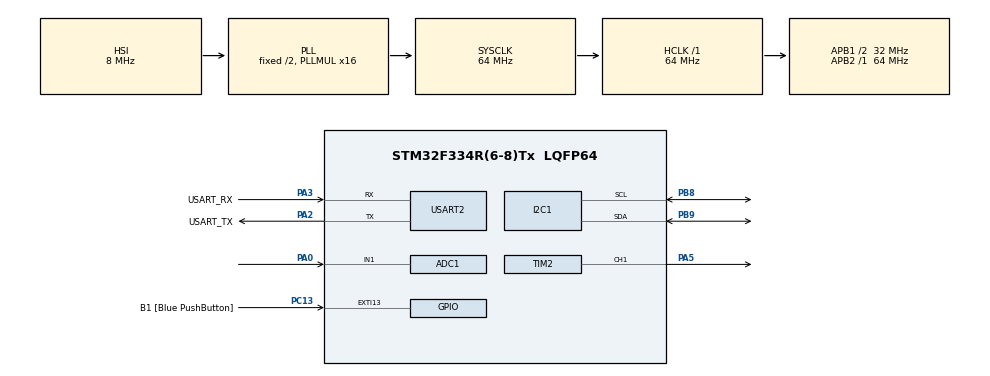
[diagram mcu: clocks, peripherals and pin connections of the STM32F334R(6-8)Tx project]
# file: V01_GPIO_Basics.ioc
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ADC1.Channel-0\#ChannelRegularConversion=ADC_CHANNEL_1
ADC1.NbrOfConversionFlag=1
ADC1.Offset-0\#ChannelRegularConversion=0
ADC1.OffsetNumber-0\#ChannelRegularConversion=ADC_OFFSET_NONE
ADC1.Rank-0\#ChannelRegularConversion=1
ADC1.SamplingTime-0\#ChannelRegularConversion=ADC_SAMPLETIME_1CYCLE_5
ADC1.SamplingTimeOPAMP-0\#ChannelRegularConversion=ADC_SAMPLETIME_61CYCLES_5
ADC1.SubFamily=STM32F334x8
ADC1.master=1
I2C1.Timing=0x00201D2B
Mcu.Family=STM32F3
Mcu.Name=STM32F334R(6-8)Tx
Mcu.Package=LQFP64
NVIC.EXTI15_10_IRQn=true\:0\:0\:false\:false\:true\:true\:true\:true
NVIC.PriorityGroup=NVIC_PRIORITYGROUP_0
NVIC.TIM2_IRQn=true\:0\:0\:false\:false\:true\:true\:true\:true
PA0.Mode=IN1-Single-Ended
PA0.Signal=ADC1_IN1
PA13.GPIO_Label=TMS
PA13.Mode=Serial_Wire
PA13.Signal=SYS_JTMS-SWDIO
PA14.GPIO_Label=TCK
PA14.Mode=Serial_Wire
PA14.Signal=SYS_JTCK-SWCLK
PA2.GPIO_Label=USART_TX
PA2.Mode=Asynchronous
PA2.Signal=USART2_TX
PA3.GPIO_Label=USART_RX
PA3.Mode=Asynchronous
PA3.Signal=USART2_RX
PA5.Signal=S_TIM2_CH1_ETR
PB3.GPIO_Label=SWO
PB3.Signal=SYS_JTDO-TRACESWO
PB8.Mode=I2C
PB8.Signal=I2C1_SCL
PB9.Mode=I2C
PB9.Signal=I2C1_SDA
PC13.GPIO_Label=B1 [Blue PushButton]
PC13.GPIO_ModeDefaultEXTI=GPIO_MODE_IT_FALLING
PC13.Signal=GPXTI13
PC14\ /\ OSC32_IN.Mode=LSE-External-Oscillator
PC14\ /\ OSC32_IN.Signal=RCC_OSC32_IN
PC15\ /\ OSC32_OUT.GPIO_Label=RCC_OSC32_OUT
PC15\ /\ OSC32_OUT.Mode=LSE-External-Oscillator
PC15\ /\ OSC32_OUT.Signal=RCC_OSC32_OUT
PF0\ /\ OSC_IN.Mode=HSE-External-Clock-Source
PF0\ /\ OSC_IN.Signal=RCC_OSC_IN
PF1\ /\ OSC_OUT.Signal=RCC_OSC_OUT
ProjectManager.HeapSize=0x200
ProjectManager.StackSize=0x400
ProjectManager.TargetToolchain=STM32CubeIDE
RCC.AHBFreq_Value=64000000
RCC.APB1CLKDivider=RCC_HCLK_DIV2
RCC.APB1Freq_Value=32000000
RCC.APB1TimFreq_Value=64000000
RCC.APB2Freq_Value=64000000
RCC.APB2TimFreq_Value=64000000
RCC.CortexFreq_Value=64000000
RCC.FLatency-AdvancedSettings=FLASH_LATENCY_2
RCC.HCLKFreq_Value=64000000
RCC.HSE_VALUE=8000000
RCC.HSI_VALUE=8000000
RCC.PLLMUL=RCC_PLL_MUL16
RCC.SYSCLKFreq_VALUE=64000000
RCC.SYSCLKSourceVirtual=RCC_SYSCLKSOURCE_PLLCLK
SH.S_TIM2_CH1_ETR.0=TIM2_CH1,PWM Generation1 CH1
TIM2.Channel-PWM\ Generation1\ CH1=TIM_CHANNEL_1
TIM2.Period=999
TIM2.Prescaler=63
USART2.VirtualMode-Asynchronous=VM_ASYNC
VP_TIM2_VS_ClockSourceINT.Mode=Internal
board=NUCLEO-F334R8

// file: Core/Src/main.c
/* USER CODE BEGIN Header */
/**
  ******************************************************************************
  * @file           : main.c
  * @brief          : Main program body
  ******************************************************************************
  * @attention
  *
  * Copyright (c) 2026 STMicroelectronics.
  * All rights reserved.
  *
  * This software is licensed under terms that can be found in the LICENSE file
  * in the root directory of this software component.
  * If no LICENSE file comes with this software, it is provided AS-IS.
  *
  ******************************************************************************
  */
/* USER CODE END Header */
#include "main.h"

/* USER CODE BEGIN Includes */
#include <math.h>
#include <string.h>
#include <stdio.h>
#define MPU6050_ADDR (0x68 << 1)
/* USER CODE END Includes */

ADC_HandleTypeDef hadc1;

I2C_HandleTypeDef hi2c1;

TIM_HandleTypeDef htim2;

UART_HandleTypeDef huart2;

/* USER CODE BEGIN PV */

uint32_t lastButtonPress = 0;
uint32_t duty = 0;
int32_t direction = 10;
uint32_t adcValue = 0;
char uartBuffer[64];

float gyro_x_offset = 0.0f;
float gyro_y_offset = 0.0f;
float gyro_z_offset = 0.0f;
float roll_gyro = 0.0f;
float pitch_gyro = 0.0f;
float roll_filter = 0.0f;
float pitch_filter = 0.0f;

float roll_setpoint = 0.0f;
float pitch_setpoint = 0.0f;

float kp_roll = 1.0f;
float kp_pitch = 1.0f;

float roll_pid_output = 0.0f;
float pitch_pid_output = 0.0f;
/* USER CODE END PV */

void SystemClock_Config(void);
static void MX_GPIO_Init(void);
static void MX_USART2_UART_Init(void);
static void MX_TIM2_Init(void);
static void MX_ADC1_Init(void);
static void MX_I2C1_Init(void);

int main(void)
{

  /* MCU Configuration--------------------------------------------------------*/

  /* Reset of all peripherals, Initializes the Flash interface and the Systick. */
  HAL_Init();

  /* Configure the system clock */
  SystemClock_Config();

  /* Initialize all configured peripherals */
  MX_GPIO_Init();
  MX_USART2_UART_Init();
  MX_TIM2_Init();
  MX_ADC1_Init();
  MX_I2C1_Init();
  /* USER CODE BEGIN 2 */
  //HAL_TIM_Base_Start_IT(&htim2);
  const char message[] = "STM32 gestartet!\r\n";
  HAL_UART_Transmit(&huart2,
                    (uint8_t*)message,
                    strlen(message),
                    HAL_MAX_DELAY);
  HAL_TIM_PWM_Start(&htim2, TIM_CHANNEL_1);

  // PWM starten
  HAL_TIM_PWM_Start(&htim2, TIM_CHANNEL_1);

  // WHO_AM_I lesen
  uint8_t who_am_i = 0;

  HAL_I2C_Mem_Read(
      &hi2c1,
      0x68 << 1,
      0x75,
      I2C_MEMADD_SIZE_8BIT,
      &who_am_i,
      1,
      HAL_MAX_DELAY
  );

  char buffer[100];

  snprintf(buffer,
           sizeof(buffer),
           "WHO_AM_I: 0x%02X\r\n",
           who_am_i);

  HAL_UART_Transmit(
      &huart2,
      (uint8_t*)buffer,
      strlen(buffer),
      HAL_MAX_DELAY
  );

  // Sensor aufwecken
  uint8_t wake = 0x00;

  HAL_I2C_Mem_Write(
      &hi2c1,
      0x68 << 1,
      0x6B,
      I2C_MEMADD_SIZE_8BIT,
      &wake,
      1,
      HAL_MAX_DELAY
  );

  const char calibration_message[] =
      "Gyro calibration: keep sensor still...\r\n";

  HAL_UART_Transmit(
      &huart2,
      (uint8_t *)calibration_message,
      strlen(calibration_message),
      100
  );

  int32_t gyro_x_sum = 0;
  int32_t gyro_y_sum = 0;
  int32_t gyro_z_sum = 0;

  uint8_t gyro_data[6];

  for (int i = 0; i < 1000; i++)
  {
      HAL_StatusTypeDef status = HAL_I2C_Mem_Read(
          &hi2c1,
          0x68 << 1,
          0x43,
          I2C_MEMADD_SIZE_8BIT,
          gyro_data,
          6,
          100
      );

      if (status == HAL_OK)
      {
          int16_t gyro_x_raw =
              (int16_t)((gyro_data[0] << 8) | gyro_data[1]);

          int16_t gyro_y_raw =
              (int16_t)((gyro_data[2] << 8) | gyro_data[3]);

          int16_t gyro_z_raw =
              (int16_t)((gyro_data[4] << 8) | gyro_data[5]);

          gyro_x_sum += gyro_x_raw;
          gyro_y_sum += gyro_y_raw;
          gyro_z_sum += gyro_z_raw;
      }

      HAL_Delay(2);
  }

  gyro_x_offset = gyro_x_sum / 1000.0f;
  gyro_y_offset = gyro_y_sum / 1000.0f;
  gyro_z_offset = gyro_z_sum / 1000.0f;

  char calibration_buffer[120];

  int calibration_length = snprintf(
      calibration_buffer,
      sizeof(calibration_buffer),
      "Calibration complete | Offsets: %.2f %.2f %.2f\r\n",
      gyro_x_offset,
      gyro_y_offset,
      gyro_z_offset
  );

  HAL_UART_Transmit(
      &huart2,
      (uint8_t *)calibration_buffer,
      calibration_length,
      100
  );

  // HIER EINFÜGEN

  /* USER CODE END 2 */

  /* Infinite loop */
  /* USER CODE BEGIN WHILE */
  uint32_t previous_time = HAL_GetTick();
  while (1)
  {
      uint8_t imu_data[14];

      HAL_StatusTypeDef status = HAL_I2C_Mem_Read(
          &hi2c1,
          0x68 << 1,
          0x3B,
          I2C_MEMADD_SIZE_8BIT,
          imu_data,
          14,
          100
      );

      if (status == HAL_OK)
      {
          int16_t accel_x_raw =
              (int16_t)((imu_data[0] << 8) | imu_data[1]);

          int16_t accel_y_raw =
              (int16_t)((imu_data[2] << 8) | imu_data[3]);

          int16_t accel_z_raw =
              (int16_t)((imu_data[4] << 8) | imu_data[5]);

          int16_t gyro_x_raw =
              (int16_t)((imu_data[8] << 8) | imu_data[9]);

          int16_t gyro_y_raw =
              (int16_t)((imu_data[10] << 8) | imu_data[11]);

          int16_t gyro_z_raw =
              (int16_t)((imu_data[12] << 8) | imu_data[13]);

          float accel_x = accel_x_raw / 16384.0f;
          float accel_y = accel_y_raw / 16384.0f;
          float accel_z = accel_z_raw / 16384.0f;

          float gyro_x = (gyro_x_raw - gyro_x_offset) / 131.0f;
          float gyro_y = (gyro_y_raw - gyro_y_offset) / 131.0f;
          float gyro_z = (gyro_z_raw - gyro_z_offset) / 131.0f;

          uint32_t current_time = HAL_GetTick();
          float dt = (current_time - previous_time) / 1000.0f;
          previous_time = current_time;

          roll_gyro += gyro_x * dt;
          pitch_gyro += gyro_y * dt;

          float roll =
              atan2f(accel_y, accel_z) * 180.0f / 3.14159265f;

          float pitch =
              atan2f(
                  -accel_x,
                  sqrtf(accel_y * accel_y + accel_z * accel_z)
              ) * 180.0f / 3.14159265f;

          roll_filter =
              0.90f * (roll_filter + gyro_x * dt)
              + 0.10f * roll;

          pitch_filter =
              0.90f * (pitch_filter + gyro_y * dt)
              + 0.10f * pitch;

          float roll_error = roll_setpoint - roll_filter;
          float pitch_error = pitch_setpoint - pitch_filter;

          roll_pid_output = kp_roll * roll_error;
          pitch_pid_output = kp_pitch * pitch_error;

          char imu_buffer[200];

          int imu_length = snprintf(
              imu_buffer,
              sizeof(imu_buffer),
              "FILTER R: %.2f P: %.2f | ERROR R: %.2f P: %.2f | P-OUT R: %.2f P: %.2f\r\n",
              roll_filter,
              pitch_filter,
              roll_error,
              pitch_error,
              roll_pid_output,
              pitch_pid_output
          );

          HAL_UART_Transmit(
              &huart2,
              (uint8_t *)imu_buffer,
              imu_length,
              100
          );
      }
      else
      {
          const char error_message[] = "IMU read error\r\n";

          HAL_UART_Transmit(
              &huart2,
              (uint8_t *)error_message,
              strlen(error_message),
              100
          );
      }

      HAL_Delay(10);

      /* USER CODE END WHILE */

  }

  /* USER CODE END 3 */
}

void SystemClock_Config(void)
{
  RCC_OscInitTypeDef RCC_OscInitStruct = {0};
  RCC_ClkInitTypeDef RCC_ClkInitStruct = {0};
  RCC_PeriphCLKInitTypeDef PeriphClkInit = {0};

  /** Initializes the RCC Oscillators according to the specified parameters
  * in the RCC_OscInitTypeDef structure.
  */
  RCC_OscInitStruct.OscillatorType = RCC_OSCILLATORTYPE_HSI;
  RCC_OscInitStruct.HSIState = RCC_HSI_ON;
  RCC_OscInitStruct.HSICalibrationValue = RCC_HSICALIBRATION_DEFAULT;
  RCC_OscInitStruct.PLL.PLLState = RCC_PLL_ON;
  RCC_OscInitStruct.PLL.PLLSource = RCC_PLLSOURCE_HSI;
  RCC_OscInitStruct.PLL.PLLMUL = RCC_PLL_MUL16;
  if (HAL_RCC_OscConfig(&RCC_OscInitStruct) != HAL_OK)
  {
    Error_Handler();
  }

  /** Initializes the CPU, AHB and APB buses clocks
  */
  RCC_ClkInitStruct.ClockType = RCC_CLOCKTYPE_HCLK|RCC_CLOCKTYPE_SYSCLK
                              |RCC_CLOCKTYPE_PCLK1|RCC_CLOCKTYPE_PCLK2;
  RCC_ClkInitStruct.SYSCLKSource = RCC_SYSCLKSOURCE_PLLCLK;
  RCC_ClkInitStruct.AHBCLKDivider = RCC_SYSCLK_DIV1;
  RCC_ClkInitStruct.APB1CLKDivider = RCC_HCLK_DIV2;
  RCC_ClkInitStruct.APB2CLKDivider = RCC_HCLK_DIV1;

  if (HAL_RCC_ClockConfig(&RCC_ClkInitStruct, FLASH_LATENCY_2) != HAL_OK)
  {
    Error_Handler();
  }
  PeriphClkInit.PeriphClockSelection = RCC_PERIPHCLK_I2C1|RCC_PERIPHCLK_ADC12;
  PeriphClkInit.Adc12ClockSelection = RCC_ADC12PLLCLK_DIV1;
  PeriphClkInit.I2c1ClockSelection = RCC_I2C1CLKSOURCE_HSI;
  if (HAL_RCCEx_PeriphCLKConfig(&PeriphClkInit) != HAL_OK)
  {
    Error_Handler();
  }
}

static void MX_ADC1_Init(void)
{

  ADC_MultiModeTypeDef multimode = {0};
  ADC_ChannelConfTypeDef sConfig = {0};

  /** Common config
  */
  hadc1.Instance = ADC1;
  hadc1.Init.ClockPrescaler = ADC_CLOCK_ASYNC_DIV1;
  hadc1.Init.Resolution = ADC_RESOLUTION_12B;
  hadc1.Init.ScanConvMode = ADC_SCAN_DISABLE;
  hadc1.Init.ContinuousConvMode = DISABLE;
  hadc1.Init.DiscontinuousConvMode = DISABLE;
  hadc1.Init.ExternalTrigConvEdge = ADC_EXTERNALTRIGCONVEDGE_NONE;
  hadc1.Init.ExternalTrigConv = ADC_SOFTWARE_START;
  hadc1.Init.DataAlign = ADC_DATAALIGN_RIGHT;
  hadc1.Init.NbrOfConversion = 1;
  hadc1.Init.DMAContinuousRequests = DISABLE;
  hadc1.Init.EOCSelection = ADC_EOC_SINGLE_CONV;
  hadc1.Init.LowPowerAutoWait = DISABLE;
  hadc1.Init.Overrun = ADC_OVR_DATA_OVERWRITTEN;
  if (HAL_ADC_Init(&hadc1) != HAL_OK)
  {
    Error_Handler();
  }

  /** Configure the ADC multi-mode
  */
  multimode.Mode = ADC_MODE_INDEPENDENT;
  if (HAL_ADCEx_MultiModeConfigChannel(&hadc1, &multimode) != HAL_OK)
  {
    Error_Handler();
  }

  /** Configure Regular Channel
  */
  sConfig.Channel = ADC_CHANNEL_1;
  sConfig.Rank = ADC_REGULAR_RANK_1;
  sConfig.SingleDiff = ADC_SINGLE_ENDED;
  sConfig.SamplingTime = ADC_SAMPLETIME_1CYCLE_5;
  sConfig.OffsetNumber = ADC_OFFSET_NONE;
  sConfig.Offset = 0;
  if (HAL_ADC_ConfigChannel(&hadc1, &sConfig) != HAL_OK)
  {
    Error_Handler();
  }

}

static void MX_I2C1_Init(void)
{

  hi2c1.Instance = I2C1;
  hi2c1.Init.Timing = 0x00201D2B;
  hi2c1.Init.OwnAddress1 = 0;
  hi2c1.Init.AddressingMode = I2C_ADDRESSINGMODE_7BIT;
  hi2c1.Init.DualAddressMode = I2C_DUALADDRESS_DISABLE;
  hi2c1.Init.OwnAddress2 = 0;
  hi2c1.Init.OwnAddress2Masks = I2C_OA2_NOMASK;
  hi2c1.Init.GeneralCallMode = I2C_GENERALCALL_DISABLE;
  hi2c1.Init.NoStretchMode = I2C_NOSTRETCH_DISABLE;
  if (HAL_I2C_Init(&hi2c1) != HAL_OK)
  {
    Error_Handler();
  }

  /** Configure Analogue filter
  */
  if (HAL_I2CEx_ConfigAnalogFilter(&hi2c1, I2C_ANALOGFILTER_ENABLE) != HAL_OK)
  {
    Error_Handler();
  }

  /** Configure Digital filter
  */
  if (HAL_I2CEx_ConfigDigitalFilter(&hi2c1, 0) != HAL_OK)
  {
    Error_Handler();
  }

}

static void MX_TIM2_Init(void)
{

  TIM_ClockConfigTypeDef sClockSourceConfig = {0};
  TIM_MasterConfigTypeDef sMasterConfig = {0};
  TIM_OC_InitTypeDef sConfigOC = {0};

  htim2.Instance = TIM2;
  htim2.Init.Prescaler = 63;
  htim2.Init.CounterMode = TIM_COUNTERMODE_UP;
  htim2.Init.Period = 999;
  htim2.Init.ClockDivision = TIM_CLOCKDIVISION_DIV1;
  htim2.Init.AutoReloadPreload = TIM_AUTORELOAD_PRELOAD_DISABLE;
  if (HAL_TIM_Base_Init(&htim2) != HAL_OK)
  {
    Error_Handler();
  }
  sClockSourceConfig.ClockSource = TIM_CLOCKSOURCE_INTERNAL;
  if (HAL_TIM_ConfigClockSource(&htim2, &sClockSourceConfig) != HAL_OK)
  {
    Error_Handler();
  }
  if (HAL_TIM_PWM_Init(&htim2) != HAL_OK)
  {
    Error_Handler();
  }
  sMasterConfig.MasterOutputTrigger = TIM_TRGO_RESET;
  sMasterConfig.MasterSlaveMode = TIM_MASTERSLAVEMODE_DISABLE;
  if (HAL_TIMEx_MasterConfigSynchronization(&htim2, &sMasterConfig) != HAL_OK)
  {
    Error_Handler();
  }
  sConfigOC.OCMode = TIM_OCMODE_PWM1;
  sConfigOC.Pulse = 0;
  sConfigOC.OCPolarity = TIM_OCPOLARITY_HIGH;
  sConfigOC.OCFastMode = TIM_OCFAST_DISABLE;
  if (HAL_TIM_PWM_ConfigChannel(&htim2, &sConfigOC, TIM_CHANNEL_1) != HAL_OK)
  {
    Error_Handler();
  }
  HAL_TIM_MspPostInit(&htim2);

}

static void MX_USART2_UART_Init(void)
{

  huart2.Instance = USART2;
  huart2.Init.BaudRate = 38400;
  huart2.Init.WordLength = UART_WORDLENGTH_8B;
  huart2.Init.StopBits = UART_STOPBITS_1;
  huart2.Init.Parity = UART_PARITY_NONE;
  huart2.Init.Mode = UART_MODE_TX_RX;
  huart2.Init.HwFlowCtl = UART_HWCONTROL_NONE;
  huart2.Init.OverSampling = UART_OVERSAMPLING_16;
  huart2.Init.OneBitSampling = UART_ONE_BIT_SAMPLE_DISABLE;
  huart2.AdvancedInit.AdvFeatureInit = UART_ADVFEATURE_NO_INIT;
  if (HAL_UART_Init(&huart2) != HAL_OK)
  {
    Error_Handler();
  }

}

static void MX_GPIO_Init(void)
{
  GPIO_InitTypeDef GPIO_InitStruct = {0};

  /* GPIO Ports Clock Enable */
  __HAL_RCC_GPIOC_CLK_ENABLE();
  __HAL_RCC_GPIOF_CLK_ENABLE();
  __HAL_RCC_GPIOA_CLK_ENABLE();
  __HAL_RCC_GPIOB_CLK_ENABLE();

  /*Configure GPIO pin : B1_Pin */
  GPIO_InitStruct.Pin = B1_Pin;
  GPIO_InitStruct.Mode = GPIO_MODE_IT_FALLING;
  GPIO_InitStruct.Pull = GPIO_NOPULL;
  HAL_GPIO_Init(B1_GPIO_Port, &GPIO_InitStruct);

  /* EXTI interrupt init*/
  HAL_NVIC_SetPriority(EXTI15_10_IRQn, 0, 0);
  HAL_NVIC_EnableIRQ(EXTI15_10_IRQn);

}

/* USER CODE BEGIN 4 */
void HAL_GPIO_EXTI_Callback(uint16_t GPIO_Pin)
{
    if (GPIO_Pin == B1_Pin)
    {
        uint32_t currentTime = HAL_GetTick();

        if ((currentTime - lastButtonPress) > 200)
        {
            //HAL_GPIO_TogglePin(LD2_GPIO_Port, LD2_Pin);
            lastButtonPress = currentTime;
        }
    }
}
void HAL_TIM_PeriodElapsedCallback(TIM_HandleTypeDef *htim)
{
    if (htim->Instance == TIM2)
    {
        //HAL_GPIO_TogglePin(LD2_GPIO_Port, LD2_Pin);

        const char message[] = "Timer-Ereignis\r\n";

        HAL_UART_Transmit(&huart2,
                          (uint8_t*)message,
                          strlen(message),
                          100);
    }
}
/* USER CODE END 4 */

void Error_Handler(void)
{
  __disable_irq();
  while (1)
  {
  }
}
